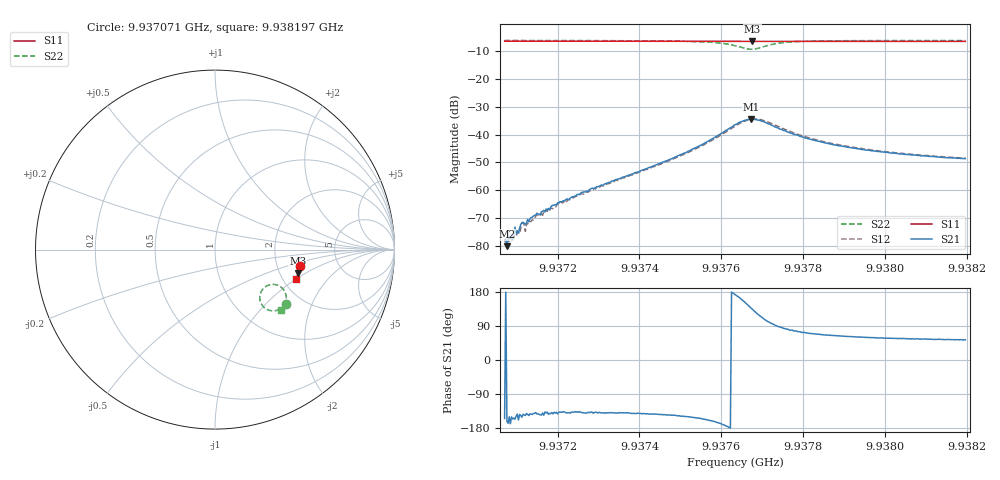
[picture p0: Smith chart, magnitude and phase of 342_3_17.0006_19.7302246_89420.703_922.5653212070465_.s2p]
#  HZ  S  RI  R  50.00
! Rohde & Schwarz Vector Network Analyzer
! Rohde-Schwarz,ZNB20-2Port,1311601062101988,3.16
! Created: UTC 3/20/2024, 11:07:22 PM
! freq[Hz]  re:S11  im:S11  re:S21  im:S21  re:S12  im:S12  re:S22  im:S22
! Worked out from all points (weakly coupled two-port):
!   401 points, 9.937071 GHz to 9.938197 GHz, reference 50 ohm
!   highest |S21| = -34.42 dB at 9.937673 GHz (marker M1); lowest = -80.2 dB at 9.937076 GHz (marker M2)
!   lowest |S11| = -6.4 dB at 9.937676 GHz (marker M3), VSWR 2.84, Z = 125 - j42.8 ohm
!   |S11| at or under -10 dB: nowhere
!   |S22| runs from -9.2 to -6.0 dB; largest |S21 - S12| = 0.0021
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9.9370707e9  0.4754 -0.0928  -0.000115 -5.55e-05  -0.000114 -2.25e-05  0.3968 -0.303
9.9370764e9  0.4754 -0.0932  -9.3e-05 -3.14e-05  -0.000117 -4.16e-05  0.3964 -0.3034
9.9370876e9  0.475 -0.0941  -0.000136 -7.84e-05  -0.000115 -4.4e-05  0.3957 -0.3041
9.9370961e9  0.4749 -0.0945  -0.000199 -8.75e-05  -0.000151 -0.000101  0.3955 -0.3045
9.9371045e9  0.4748 -0.0953  -0.000158 -6.24e-05  -0.00015 -9.11e-05  0.3945 -0.3052
9.937113e9  0.4747 -0.0958  -0.000228 -0.000126  -0.000233 -0.000103  0.3943 -0.3057
9.937127e9  0.4745 -0.0967  -0.00024 -0.000177  -0.000205 -0.000136  0.3934 -0.3067
9.9371439e9  0.474 -0.098  -0.000274 -0.000222  -0.000252 -0.000179  0.3921 -0.3079
9.937203e9  0.4729 -0.1019  -0.000433 -0.000396  -0.000423 -0.000382  0.3878 -0.312
9.9372593e9  0.4718 -0.1056  -0.000689 -0.000599  -0.000635 -0.000566  0.3832 -0.3164
9.937448e9  0.468 -0.1184  -0.00242 -0.00178  -0.00234 -0.0017  0.3598 -0.3326
9.9375437e9  0.4655 -0.1249  -0.00546 -0.00275  -0.00523 -0.00263  0.3309 -0.3411
9.9376338e9  0.4624 -0.1303  -0.015 0.0018  -0.0142 0.000897  0.2608 -0.3068
9.9376507e9  0.4617 -0.131  -0.0161 0.0061  -0.016 0.0046  0.2497 -0.2754
9.9376732e9  0.4615 -0.1316  -0.0138 0.0131  -0.0152 0.0115  0.2648 -0.2223
9.937676e9  0.4613 -0.1317  -0.0131 0.0138  -0.0145 0.0124  0.2697 -0.2167
9.9377013e9  0.4614 -0.1329  -0.00609 0.0163  -0.00788 0.0164  0.3281 -0.194
9.9377351e9  0.4616 -0.1352  -0.000103 0.0135  -0.000713 0.0146  0.3801 -0.2208
9.9378224e9  0.4599 -0.1414  0.00284 0.00762  0.00297 0.00789  0.3963 -0.2813
9.9379153e9  0.4576 -0.1478  0.00279 0.00515  0.00295 0.00528  0.3879 -0.3067
9.938011e9  0.4553 -0.1541  0.00257 0.00399  0.00267 0.00404  0.3794 -0.3203
9.9381968e9  0.4503 -0.166  0.00222 0.00297  0.00231 0.00299  0.3658 -0.337
